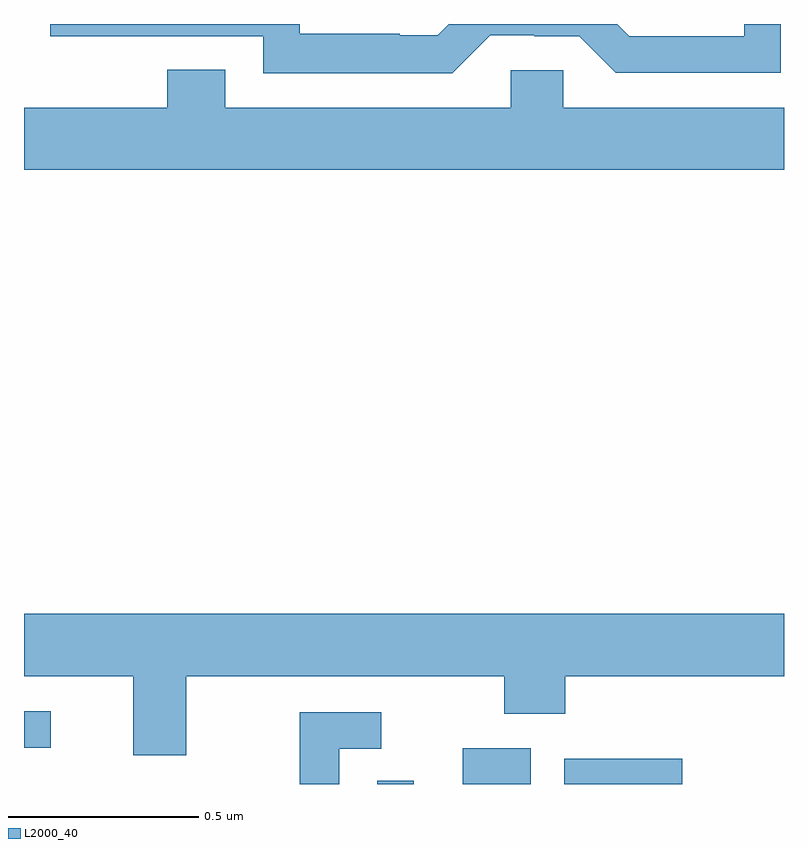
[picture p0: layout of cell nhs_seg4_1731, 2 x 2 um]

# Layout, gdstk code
import gdstk
lib = gdstk.Library(unit=1e-6, precision=1e-09)
def R(c, l, rs):  # rectangles x0, y0, x1, y1
    for r in rs: c.add(gdstk.rectangle(r[:2], r[2:], *l))
def P(c, l, *ps):  # polygons
    for p in ps: c.add(gdstk.Polygon(p, *l))
L2000_40 = (2000, 40)

nhs_seg4_1731 = lib.new_cell('nhs_seg4_1731')
R(nhs_seg4_1731, L2000_40, [(132.93,765.9,133.026,765.908), (133.154,765.9,133.333,765.994), (133.422,765.9,133.732,765.966), (132,765.996,132.07,766.092)])
P(nhs_seg4_1731, L2000_40, [(133.227,767.871),(133.343,767.871),(133.343,767.868),(133.461,767.868),(133.557,767.772),(133.992,767.772),(133.992,767.9),(133.896,767.9),(133.896,767.868),(133.593,767.868),(133.561,767.9),(133.118,767.9),(133.089,767.871),(132.989,767.871),(132.989,767.875),(132.726,767.875),(132.726,767.9),(132.069,767.9),(132.069,767.868),(132.63,767.868),(132.63,767.771),(133.127,767.771)],
  [(134,767.68),(133.419,767.68),(133.419,767.778),(133.281,767.778),(133.281,767.68),(132.529,767.68),(132.529,767.779),(132.377,767.779),(132.377,767.68),(132,767.68),(132,767.516),(134,767.516)],
  [(132.427,766.184),(133.264,766.184),(133.264,766.085),(133.424,766.085),(133.424,766.184),(134,766.184),(134,766.348),(132,766.348),(132,766.184),(132.287,766.184),(132.287,765.976),(132.427,765.976)],
  [(132.829,765.993),(132.94,765.993),(132.94,766.089),(132.725,766.089),(132.725,765.9),(132.829,765.9)])

lib.write_gds('nhs_seg4_1731.gds')
